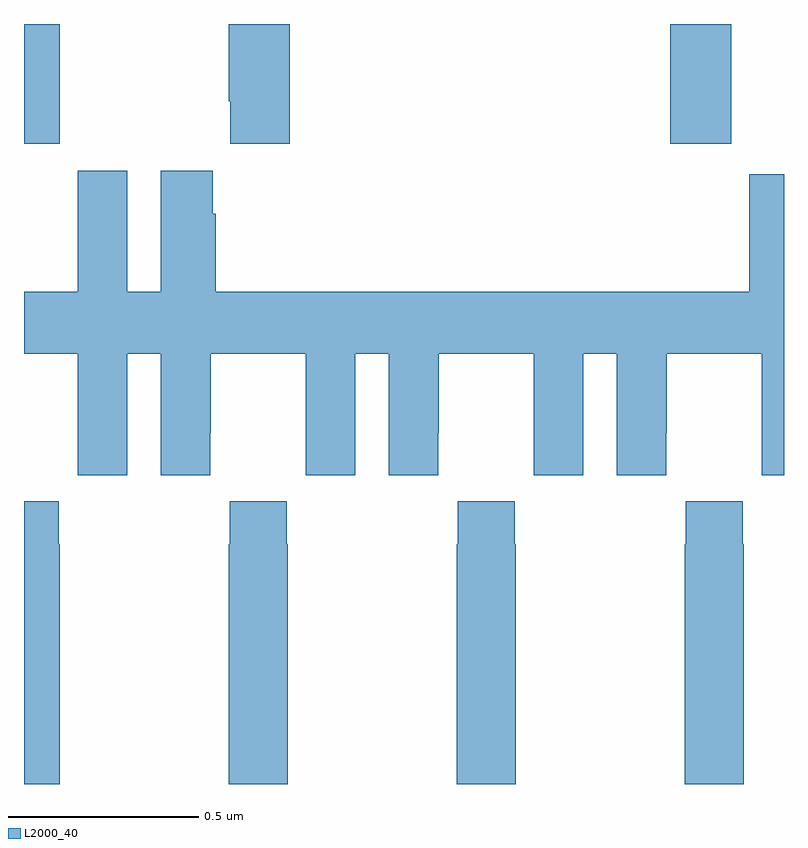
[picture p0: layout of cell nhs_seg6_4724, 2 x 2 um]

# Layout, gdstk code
import gdstk
lib = gdstk.Library(unit=1e-6, precision=1e-09)
def R(c, l, rs):  # rectangles x0, y0, x1, y1
    for r in rs: c.add(gdstk.rectangle(r[:2], r[2:], *l))
def P(c, l, *ps):  # polygons
    for p in ps: c.add(gdstk.Polygon(p, *l))
L2000_40 = (2000, 40)

nhs_seg6_4724 = lib.new_cell('nhs_seg6_4724')
R(nhs_seg6_4724, L2000_40, [(173,985.185,173.094,985.5), (174.701,985.185,174.861,985.5)])
P(nhs_seg6_4724, L2000_40, [(173.699,985.5),(173.539,985.5),(173.539,985.297),(173.543,985.297),(173.543,985.185),(173.699,985.185)],
  [(173.504,985.001),(173.497,985.001),(173.497,985.114),(173.36,985.114),(173.36,984.796),(173.272,984.796),(173.272,985.114),(173.141,985.114),(173.141,984.796),(173,984.796),(173,984.632),(173.141,984.632),(173.141,984.424),(173.142,984.424),(173.142,984.312),(173.272,984.312),(173.272,984.632),(173.36,984.632),(173.36,984.312),(173.49,984.312),(173.49,984.424),(173.491,984.424),(173.491,984.632),(173.741,984.632),(173.741,984.424),(173.742,984.424),(173.742,984.312),(173.872,984.312),(173.872,984.632),(173.96,984.632),(173.96,984.312),(174.09,984.312),(174.09,984.424),(174.091,984.424),(174.091,984.632),(174.341,984.632),(174.341,984.424),(174.342,984.424),(174.342,984.312),(174.472,984.312),(174.472,984.632),(174.56,984.632),(174.56,984.312),(174.69,984.312),(174.69,984.424),(174.691,984.424),(174.691,984.632),(174.941,984.632),(174.941,984.424),(174.942,984.424),(174.942,984.312),(175,984.312),(175,985.105),(174.908,985.105),(174.908,984.796),(173.504,984.796)],
  [(173.694,984.131),(173.691,984.131),(173.691,984.244),(173.541,984.244),(173.541,984.131),(173.539,984.131),(173.539,983.5),(173.694,983.5)],
  [(174.294,984.131),(174.291,984.131),(174.291,984.244),(174.141,984.244),(174.141,984.131),(174.139,984.131),(174.139,983.5),(174.294,983.5)],
  [(174.894,984.131),(174.891,984.131),(174.891,984.244),(174.741,984.244),(174.741,984.131),(174.739,984.131),(174.739,983.5),(174.894,983.5)],
  [(173.094,984.131),(173.091,984.131),(173.091,984.244),(173,984.244),(173,983.5),(173.094,983.5)])

lib.write_gds('nhs_seg6_4724.gds')
